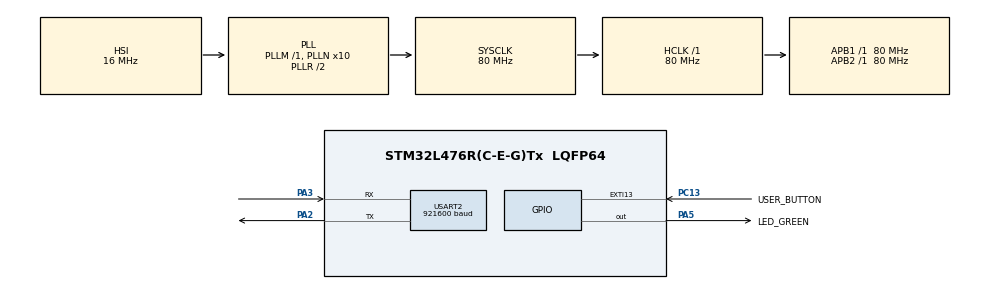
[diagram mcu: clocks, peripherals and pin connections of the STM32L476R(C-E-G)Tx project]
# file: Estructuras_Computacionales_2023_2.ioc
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Dma.Request0=USART2_TX
Dma.USART2_TX.0.Direction=DMA_MEMORY_TO_PERIPH
Dma.USART2_TX.0.Instance=DMA1_Channel7
Dma.USART2_TX.0.MemDataAlignment=DMA_MDATAALIGN_BYTE
Dma.USART2_TX.0.MemInc=DMA_MINC_ENABLE
Dma.USART2_TX.0.Mode=DMA_NORMAL
Dma.USART2_TX.0.PeriphDataAlignment=DMA_PDATAALIGN_BYTE
Dma.USART2_TX.0.PeriphInc=DMA_PINC_DISABLE
Dma.USART2_TX.0.Priority=DMA_PRIORITY_MEDIUM
Mcu.Family=STM32L4
Mcu.Name=STM32L476R(C-E-G)Tx
Mcu.Package=LQFP64
NVIC.DMA1_Channel7_IRQn=true\:0\:0\:false\:false\:true\:false\:true\:true
NVIC.EXTI15_10_IRQn=true\:0\:0\:false\:false\:true\:true\:true\:true
NVIC.PriorityGroup=NVIC_PRIORITYGROUP_4
NVIC.USART2_IRQn=true\:0\:0\:false\:false\:true\:true\:true\:true
PA2.Mode=Asynchronous
PA2.Signal=USART2_TX
PA3.Mode=Asynchronous
PA3.Signal=USART2_RX
PA5.GPIO_Label=LED_GREEN
PA5.Signal=GPIO_Output
PC13.GPIO_Label=USER_BUTTON
PC13.Signal=GPXTI13
ProjectManager.HeapSize=0x200
ProjectManager.StackSize=0x400
ProjectManager.TargetToolchain=STM32CubeIDE
RCC.ADCFreq_Value=64000000
RCC.AHBFreq_Value=80000000
RCC.APB1Freq_Value=80000000
RCC.APB1TimFreq_Value=80000000
RCC.APB2Freq_Value=80000000
RCC.APB2TimFreq_Value=80000000
RCC.CortexFreq_Value=80000000
RCC.HCLKFreq_Value=80000000
RCC.HSE_VALUE=8000000
RCC.HSI_VALUE=16000000
RCC.LSE_VALUE=32768
RCC.MSI_VALUE=4000000
RCC.PLLN=10
RCC.PLLSourceVirtual=RCC_PLLSOURCE_HSI
RCC.PREFETCH_ENABLE=1
RCC.SYSCLKFreq_VALUE=80000000
RCC.SYSCLKSource=RCC_SYSCLKSOURCE_PLLCLK
RCC.USBFreq_Value=64000000
RCC.VCOOutputFreq_Value=160000000
USART2.BaudRate=921600
USART2.VirtualMode-Asynchronous=VM_ASYNC
board=NUCLEO-L476RG

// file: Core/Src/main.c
/* USER CODE BEGIN Header */
/**
  ******************************************************************************
  * @file           : main.c
  * @brief          : Main program body
  ******************************************************************************
  * @attention
  *
  * Copyright (c) 2023 STMicroelectronics.
  * All rights reserved.
  *
  * This software is licensed under terms that can be found in the LICENSE file
  * in the root directory of this software component.
  * If no LICENSE file comes with this software, it is provided AS-IS.
  *
  ******************************************************************************
  */
/* USER CODE END Header */
#include "main.h"

/* USER CODE BEGIN Includes */
#include <stdio.h>
/* USER CODE END Includes */

UART_HandleTypeDef huart2;
DMA_HandleTypeDef hdma_usart2_tx;

void SystemClock_Config(void);
static void MX_GPIO_Init(void);
static void MX_DMA_Init(void);
static void MX_USART2_UART_Init(void);

/* USER CODE BEGIN 0 */
uint8_t Rx_data[4];

uint8_t tx_busy = 0;

void HAL_UART_RxHalfCpltCallback(UART_HandleTypeDef *huart)
{
	HAL_GPIO_TogglePin(GPIOA, GPIO_PIN_5);
}

void HAL_UART_RxCpltCallback(UART_HandleTypeDef *huart)
{
	printf("Received: [%s]\r\n", Rx_data);
//	HAL_GPIO_TogglePin(GPIOA, GPIO_PIN_5);
	HAL_UART_Receive_IT(&huart2, Rx_data, 4); //reinicia el modo de recepcion de interrupcion
}

void HAL_UART_TxCpltCallback(UART_HandleTypeDef *huart)
{
	tx_busy = 0;
}

int _write(int file, char *ptr, int len)
{
	while(tx_busy != 0) {/*Wait*/}
	HAL_UART_Transmit_DMA(&huart2, (uint8_t*)ptr, len);
	tx_busy =1;
  return len;
}

/* USER CODE END 0 */

int main(void)
{

  /* MCU Configuration--------------------------------------------------------*/

  /* Reset of all peripherals, Initializes the Flash interface and the Systick. */
  HAL_Init();

  /* Configure the system clock */
  SystemClock_Config();

  /* Initialize all configured peripherals */
  MX_GPIO_Init();
  MX_DMA_Init();
  MX_USART2_UART_Init();
  /* USER CODE BEGIN 2 */
  HAL_UART_Receive_IT(&huart2, Rx_data, 4);
//  HAL_UART_Receive_DMA(&huart2, Rx_data, 4);
  /* USER CODE END 2 */

  /* Infinite loop */
  /* USER CODE BEGIN WHILE */
  for (uint8_t idx=0; idx <= 0x0F;idx++)
	  printf("IDX: 0x%02X\r\n", idx);
  while (1)
  {
    /* USER CODE END WHILE */

    /* USER CODE BEGIN 3 */

  	 // HAL_Delay(250);
  }
  /* USER CODE END 3 */
}

void SystemClock_Config(void)
{
  RCC_OscInitTypeDef RCC_OscInitStruct = {0};
  RCC_ClkInitTypeDef RCC_ClkInitStruct = {0};

  /** Configure the main internal regulator output voltage
  */
  if (HAL_PWREx_ControlVoltageScaling(PWR_REGULATOR_VOLTAGE_SCALE1) != HAL_OK)
  {
    Error_Handler();
  }

  /** Initializes the RCC Oscillators according to the specified parameters
  * in the RCC_OscInitTypeDef structure.
  */
  RCC_OscInitStruct.OscillatorType = RCC_OSCILLATORTYPE_HSI;
  RCC_OscInitStruct.HSIState = RCC_HSI_ON;
  RCC_OscInitStruct.HSICalibrationValue = RCC_HSICALIBRATION_DEFAULT;
  RCC_OscInitStruct.PLL.PLLState = RCC_PLL_ON;
  RCC_OscInitStruct.PLL.PLLSource = RCC_PLLSOURCE_HSI;
  RCC_OscInitStruct.PLL.PLLM = 1;
  RCC_OscInitStruct.PLL.PLLN = 10;
  RCC_OscInitStruct.PLL.PLLP = RCC_PLLP_DIV7;
  RCC_OscInitStruct.PLL.PLLQ = RCC_PLLQ_DIV2;
  RCC_OscInitStruct.PLL.PLLR = RCC_PLLR_DIV2;
  if (HAL_RCC_OscConfig(&RCC_OscInitStruct) != HAL_OK)
  {
    Error_Handler();
  }

  /** Initializes the CPU, AHB and APB buses clocks
  */
  RCC_ClkInitStruct.ClockType = RCC_CLOCKTYPE_HCLK|RCC_CLOCKTYPE_SYSCLK
                              |RCC_CLOCKTYPE_PCLK1|RCC_CLOCKTYPE_PCLK2;
  RCC_ClkInitStruct.SYSCLKSource = RCC_SYSCLKSOURCE_PLLCLK;
  RCC_ClkInitStruct.AHBCLKDivider = RCC_SYSCLK_DIV1;
  RCC_ClkInitStruct.APB1CLKDivider = RCC_HCLK_DIV1;
  RCC_ClkInitStruct.APB2CLKDivider = RCC_HCLK_DIV1;

  if (HAL_RCC_ClockConfig(&RCC_ClkInitStruct, FLASH_LATENCY_4) != HAL_OK)
  {
    Error_Handler();
  }
}

static void MX_USART2_UART_Init(void)
{

  huart2.Instance = USART2;
  huart2.Init.BaudRate = 921600;
  huart2.Init.WordLength = UART_WORDLENGTH_8B;
  huart2.Init.StopBits = UART_STOPBITS_1;
  huart2.Init.Parity = UART_PARITY_NONE;
  huart2.Init.Mode = UART_MODE_TX_RX;
  huart2.Init.HwFlowCtl = UART_HWCONTROL_NONE;
  huart2.Init.OverSampling = UART_OVERSAMPLING_16;
  huart2.Init.OneBitSampling = UART_ONE_BIT_SAMPLE_DISABLE;
  huart2.AdvancedInit.AdvFeatureInit = UART_ADVFEATURE_NO_INIT;
  if (HAL_UART_Init(&huart2) != HAL_OK)
  {
    Error_Handler();
  }

}

static void MX_DMA_Init(void)
{

  /* DMA controller clock enable */
  __HAL_RCC_DMA1_CLK_ENABLE();

  /* DMA interrupt init */
  /* DMA1_Channel7_IRQn interrupt configuration */
  HAL_NVIC_SetPriority(DMA1_Channel7_IRQn, 0, 0);
  HAL_NVIC_EnableIRQ(DMA1_Channel7_IRQn);

}

static void MX_GPIO_Init(void)
{
  GPIO_InitTypeDef GPIO_InitStruct = {0};

  /* GPIO Ports Clock Enable */
  __HAL_RCC_GPIOC_CLK_ENABLE();
  __HAL_RCC_GPIOA_CLK_ENABLE();

  /*Configure GPIO pin Output Level */
  HAL_GPIO_WritePin(LED_GREEN_GPIO_Port, LED_GREEN_Pin, GPIO_PIN_RESET);

  /*Configure GPIO pin : USER_BUTTON_Pin */
  GPIO_InitStruct.Pin = USER_BUTTON_Pin;
  GPIO_InitStruct.Mode = GPIO_MODE_IT_RISING;
  GPIO_InitStruct.Pull = GPIO_NOPULL;
  HAL_GPIO_Init(USER_BUTTON_GPIO_Port, &GPIO_InitStruct);

  /*Configure GPIO pin : LED_GREEN_Pin */
  GPIO_InitStruct.Pin = LED_GREEN_Pin;
  GPIO_InitStruct.Mode = GPIO_MODE_OUTPUT_PP;
  GPIO_InitStruct.Pull = GPIO_NOPULL;
  GPIO_InitStruct.Speed = GPIO_SPEED_FREQ_LOW;
  HAL_GPIO_Init(LED_GREEN_GPIO_Port, &GPIO_InitStruct);

  /* EXTI interrupt init*/
  HAL_NVIC_SetPriority(EXTI15_10_IRQn, 0, 0);
  HAL_NVIC_EnableIRQ(EXTI15_10_IRQn);

}

void Error_Handler(void)
{
  __disable_irq();
  while (1)
  {
  }
}
